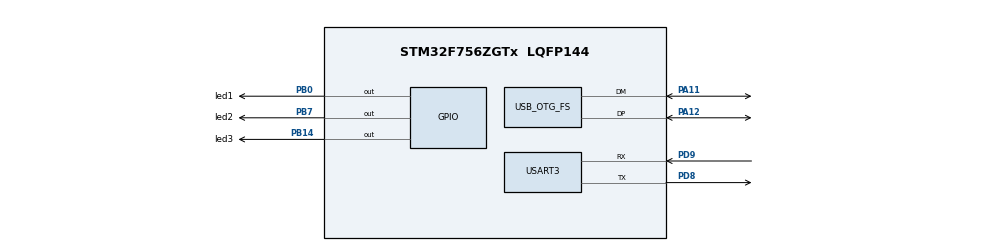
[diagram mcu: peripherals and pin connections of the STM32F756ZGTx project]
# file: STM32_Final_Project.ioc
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CORTEX_M7.default_mode_Activation=1
Mcu.Family=STM32F7
Mcu.Name=STM32F756ZGTx
Mcu.Package=LQFP144
NVIC.FLASH_IRQn=true\:0\:0\:false\:false\:true\:true\:true\:true
NVIC.FPU_IRQn=true\:0\:0\:false\:false\:true\:true\:false\:true
NVIC.OTG_FS_IRQn=true\:0\:0\:false\:false\:true\:false\:true\:true
NVIC.PVD_IRQn=true\:0\:0\:false\:false\:true\:true\:true\:true
NVIC.PriorityGroup=NVIC_PRIORITYGROUP_4
NVIC.RCC_IRQn=true\:0\:0\:false\:false\:true\:true\:false\:true
NVIC.TIM1_BRK_TIM9_IRQn=true\:0\:0\:false\:false\:true\:true\:true\:true
NVIC.TIM1_CC_IRQn=true\:0\:0\:false\:false\:true\:true\:true\:true
NVIC.TIM1_TRG_COM_TIM11_IRQn=true\:0\:0\:false\:false\:true\:true\:true\:true
NVIC.TIM1_UP_TIM10_IRQn=true\:0\:0\:false\:false\:true\:true\:true\:true
NVIC.TIM2_IRQn=true\:0\:0\:false\:false\:true\:true\:true\:true
NVIC.TIM3_IRQn=true\:0\:0\:false\:false\:true\:true\:true\:true
NVIC.USART3_IRQn=true\:0\:0\:false\:false\:true\:true\:true\:true
PA11.Mode=Device_Only
PA11.Signal=USB_OTG_FS_DM
PA12.Mode=Device_Only
PA12.Signal=USB_OTG_FS_DP
PB0.GPIO_Label=led1
PB0.Signal=GPIO_Output
PB14.GPIO_Label=led3
PB14.Signal=GPIO_Output
PB7.GPIO_Label=led2
PB7.Signal=GPIO_Output
PD8.Mode=Asynchronous
PD8.Signal=USART3_TX
PD9.Mode=Asynchronous
PD9.Signal=USART3_RX
ProjectManager.HeapSize=0x200
ProjectManager.StackSize=0x400
ProjectManager.TargetToolchain=STM32CubeIDE
RCC.HSE_VALUE=25000000
RCC.HSI_VALUE=16000000
RCC.LSE_VALUE=32768
RCC.PLLQ=3
RCC.PLLSourceVirtualString=RCC_PLLSOURCE_HSI
RCC.USBFreq_Value=64000000
RCC.VCOOutputFreq_Value=192000000
TIM1.Prescaler=127
TIM2.Period=62499
TIM2.Prescaler=255
TIM3.Prescaler=735
USART3.VirtualMode-Asynchronous=VM_ASYNC
USB_DEVICE.CLASS_NAME_FS=CDC
USB_DEVICE.VirtualMode-CDC_FS=Cdc
USB_DEVICE.VirtualModeFS=Cdc_FS
USB_OTG_FS.VirtualMode=Device_Only
VP_TIM1_VS_ClockSourceINT.Mode=Internal
VP_TIM2_VS_ClockSourceINT.Mode=Internal
VP_TIM3_VS_ClockSourceINT.Mode=Internal
VP_USB_DEVICE_VS_USB_DEVICE_CDC_FS.Mode=CDC_FS
board=custom

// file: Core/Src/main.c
/* USER CODE BEGIN Header */
/**
  ******************************************************************************
  * @file           : main.c
  * @brief          : Main program body
  ******************************************************************************
  * @attention
  *
  * Copyright (c) 2025 STMicroelectronics.
  * All rights reserved.
  *
  * This software is licensed under terms that can be found in the LICENSE file
  * in the root directory of this software component.
  * If no LICENSE file comes with this software, it is provided AS-IS.
  *
  ******************************************************************************
  */
/* USER CODE END Header */
#include "main.h"
#include "tim.h"
#include "usart.h"
#include "usb_device.h"
#include "gpio.h"

/* USER CODE BEGIN Includes */
#include <stdio.h>
#include <string.h>
/* USER CODE END Includes */

/* USER CODE BEGIN PD */
const char* LED_ON_1 = "LED1 ON";
const char* LED_OFF_1 = "LED1 OFF";
const char* LED_ON_2 = "LED2 ON";
const char* LED_OFF_2 = "LED2 OFF";
const char* LED_ON_3 = "LED3 ON";
const char* LED_OFF_3 = "LED3 OFF";
const char* CHENILLARD_ON_1 = "CHENILLARD1 ON";
const char* CHENILLARD_OFF_1 = "CHENILLARD1 OFF";
const char* CHENILLARD_ON_2 = "CHENILLARD2 ON";
const char* CHENILLARD_OFF_2 = "CHENILLARD2 OFF";
const char* CHENILLARD_ON_3 = "CHENILLARD3 ON";
const char* CHENILLARD_OFF_3 = "CHENILLARD3 OFF";
const char* CHENILLARD_FREQ = "CHENILLARD FREQUENCE";
/* USER CODE END PD */

/* USER CODE BEGIN PV */
#define MAX_BUFFER_SIZE 40
struct linear_buf_t {
  uint8_t current_index;
  uint8_t buffer[MAX_BUFFER_SIZE];
};
struct linear_buf_t linear_buf;
volatile uint8_t chenillard_running = 0;
volatile uint8_t current_chenillard = 0;
volatile uint32_t chenillard1_speed = 0;
volatile uint32_t chenillard2_speed = 0;
volatile uint32_t chenillard3_speed = 0;
volatile uint8_t tim1_active = 0;
volatile uint8_t tim2_active = 0;
volatile uint8_t tim3_active = 0;
/* USER CODE END PV */

void SystemClock_Config(void);
static void MPU_Config(void);
/* USER CODE BEGIN PFP */
void linear_buf_reset(struct linear_buf_t *lb);
int linear_buf_insert_char(struct linear_buf_t *lb, uint8_t c);
void process_command(char *command);
void stop_chenillard(void);
void chenillard1(TIM_HandleTypeDef *htim);
void chenillard2(TIM_HandleTypeDef *htim);
void chenillard3(TIM_HandleTypeDef *htim);
void start_chenillard(uint8_t chenillard_id);
void set_chenillard_speed(uint8_t chenillard_id, uint8_t frequency);
void start_timer(TIM_HandleTypeDef *htim, uint32_t period);
void stop_timer(TIM_HandleTypeDef *htim);
/* USER CODE END PFP */

int main(void)
{

  /* MPU Configuration--------------------------------------------------------*/
  MPU_Config();

  /* MCU Configuration--------------------------------------------------------*/

  /* Reset of all peripherals, Initializes the Flash interface and the Systick. */
  HAL_Init();

  /* Configure the system clock */
  SystemClock_Config();

  /* Initialize all configured peripherals */
  MX_GPIO_Init();
  MX_USART3_UART_Init();
  MX_TIM1_Init();
  MX_TIM2_Init();
  MX_TIM3_Init();
  MX_USB_DEVICE_Init();
  /* USER CODE BEGIN 2 */
  linear_buf_reset(&linear_buf);

  /* USER CODE END 2 */

  /* Infinite loop */
  /* USER CODE BEGIN WHILE */
  uint8_t rx_char;
  HAL_UART_Receive_IT(&huart3, &rx_char, 1);
  while (1)
  {
    if (HAL_UART_GetState(&huart3) == HAL_UART_STATE_READY) {

        if (rx_char == '\r' || rx_char == '\n') {
          process_command((char*)linear_buf.buffer);
          linear_buf_reset(&linear_buf);
<<<<<<< HEAD

        } else {
          if (linear_buf_insert_char(&linear_buf, rx_char) != 0) {

            linear_buf_reset(&linear_buf);

=======
        } else {
          if (linear_buf_insert_char(&linear_buf, rx_char) != 0) {
            linear_buf_reset(&linear_buf);
>>>>>>> b70239478df0a673e35625598af3356a225b9d71
          }
        }

      HAL_UART_Receive_IT(&huart3, &rx_char, 1);
    }

    /* USER CODE END WHILE */
  }
}

void SystemClock_Config(void)
{
  RCC_OscInitTypeDef RCC_OscInitStruct = {0};
  RCC_ClkInitTypeDef RCC_ClkInitStruct = {0};

  /** Configure the main internal regulator output voltage
  */
  __HAL_RCC_PWR_CLK_ENABLE();
  __HAL_PWR_VOLTAGESCALING_CONFIG(PWR_REGULATOR_VOLTAGE_SCALE3);

  /** Initializes the RCC Oscillators according to the specified parameters
  * in the RCC_OscInitTypeDef structure.
  */
  RCC_OscInitStruct.OscillatorType = RCC_OSCILLATORTYPE_HSI;
  RCC_OscInitStruct.HSIState = RCC_HSI_ON;
  RCC_OscInitStruct.HSICalibrationValue = RCC_HSICALIBRATION_DEFAULT;
  RCC_OscInitStruct.PLL.PLLState = RCC_PLL_ON;
  RCC_OscInitStruct.PLL.PLLSource = RCC_PLLSOURCE_HSI;
  RCC_OscInitStruct.PLL.PLLM = 16;
  RCC_OscInitStruct.PLL.PLLN = 192;
  RCC_OscInitStruct.PLL.PLLP = RCC_PLLP_DIV2;
  RCC_OscInitStruct.PLL.PLLQ = 3;
  if (HAL_RCC_OscConfig(&RCC_OscInitStruct) != HAL_OK)
  {
    Error_Handler();
  }

  /** Initializes the CPU, AHB and APB buses clocks
  */
  RCC_ClkInitStruct.ClockType = RCC_CLOCKTYPE_HCLK|RCC_CLOCKTYPE_SYSCLK
                              |RCC_CLOCKTYPE_PCLK1|RCC_CLOCKTYPE_PCLK2;
  RCC_ClkInitStruct.SYSCLKSource = RCC_SYSCLKSOURCE_HSI;
  RCC_ClkInitStruct.AHBCLKDivider = RCC_SYSCLK_DIV1;
  RCC_ClkInitStruct.APB1CLKDivider = RCC_HCLK_DIV1;
  RCC_ClkInitStruct.APB2CLKDivider = RCC_HCLK_DIV1;

  if (HAL_RCC_ClockConfig(&RCC_ClkInitStruct, FLASH_LATENCY_0) != HAL_OK)
  {
    Error_Handler();
  }
}

/* USER CODE BEGIN 4 */
volatile uint8_t chenillard1_step = 0;
volatile GPIO_PinState chenillard2_state = GPIO_PIN_SET;
volatile GPIO_PinState chenillard3_state = GPIO_PIN_SET;

void linear_buf_reset(struct linear_buf_t *lb) {
  lb->current_index = 0;
  memset(lb->buffer, 0, sizeof(lb->buffer));
}

int linear_buf_insert_char(struct linear_buf_t *lb, uint8_t c) {
  if (lb->current_index >= MAX_BUFFER_SIZE - 1) {
    return -1;
  }
  lb->buffer[lb->current_index++] = c;
  lb->buffer[lb->current_index] = '\0';
  return 0;
}

void stop_chenillard(void) {
  chenillard_running = 0;
  current_chenillard = 0;
  stop_timer(&htim1);
  stop_timer(&htim2);
  stop_timer(&htim3);
  tim1_active = 0;
  tim2_active = 0;
  tim3_active = 0;
  HAL_GPIO_WritePin(GPIOB, led1_Pin | led2_Pin | led3_Pin, GPIO_PIN_RESET);
<<<<<<< HEAD

=======
>>>>>>> b70239478df0a673e35625598af3356a225b9d71
}

void start_chenillard(uint8_t chenillard_id) {
  stop_chenillard();
  current_chenillard = chenillard_id;
  chenillard_running = 1;
<<<<<<< HEAD

=======
>>>>>>> b70239478df0a673e35625598af3356a225b9d71
}

void start_timer(TIM_HandleTypeDef *htim, uint32_t period) {
  __HAL_TIM_SET_AUTORELOAD(htim, period - 1);
  HAL_TIM_Base_Start_IT(htim);
}

void stop_timer(TIM_HandleTypeDef *htim) {
  HAL_TIM_Base_Stop_IT(htim);
}

void set_chenillard_speed(uint8_t chenillard_id, uint8_t frequency) {
  uint32_t period = 0;
  if (frequency == 1) {
    period = 500;
<<<<<<< HEAD

  } else if (frequency == 2) {
    period = 1000;

  } else if (frequency == 3) {
    period = 3000;

  } else {

=======
  } else if (frequency == 2) {
    period = 1000;
  } else if (frequency == 3) {
    period = 3000;
  } else {
>>>>>>> b70239478df0a673e35625598af3356a225b9d71
    return;
  }

  if (chenillard_id == 1) {
    chenillard1_speed = period;
    if (chenillard_running && current_chenillard == 1) {
      start_timer(&htim1, chenillard1_speed);
      tim1_active = 1;
    }
  } else if (chenillard_id == 2) {
    chenillard2_speed = period;
    if (chenillard_running && current_chenillard == 2) {
      start_timer(&htim2, chenillard2_speed);
      tim2_active = 1;
    }
  } else if (chenillard_id == 3) {
    chenillard3_speed = period;
    if (chenillard_running && current_chenillard == 3) {
      start_timer(&htim3, chenillard3_speed);
      tim3_active = 1;
    }
  }
}

void chenillard1(TIM_HandleTypeDef *htim) {
  if (htim->Instance == TIM1) {
    switch (chenillard1_step) {
      case 0:
        HAL_GPIO_WritePin(GPIOB, led1_Pin, GPIO_PIN_SET);
        HAL_GPIO_WritePin(GPIOB, led2_Pin | led3_Pin, GPIO_PIN_RESET);
        break;
      case 1:
        HAL_GPIO_WritePin(GPIOB, led2_Pin, GPIO_PIN_SET);
        HAL_GPIO_WritePin(GPIOB, led1_Pin | led3_Pin, GPIO_PIN_RESET);
        break;
      case 2:
        HAL_GPIO_WritePin(GPIOB, led3_Pin, GPIO_PIN_SET);
        HAL_GPIO_WritePin(GPIOB, led1_Pin | led2_Pin, GPIO_PIN_RESET);
        break;
      case 3:
        HAL_GPIO_WritePin(GPIOB, led2_Pin, GPIO_PIN_SET);
        HAL_GPIO_WritePin(GPIOB, led1_Pin | led3_Pin, GPIO_PIN_RESET);
        break;
      case 4:
        HAL_GPIO_WritePin(GPIOB, led1_Pin, GPIO_PIN_SET);
        HAL_GPIO_WritePin(GPIOB, led2_Pin | led3_Pin, GPIO_PIN_RESET);
        break;
    }
    chenillard1_step = ((chenillard1_step + 1) % 5);
  }
}

void chenillard2(TIM_HandleTypeDef *htim) {
  if (htim->Instance == TIM2) {
    HAL_GPIO_WritePin(GPIOB, led1_Pin | led3_Pin, chenillard2_state);
    HAL_GPIO_WritePin(GPIOB, led2_Pin, !chenillard2_state);
    chenillard2_state = !chenillard2_state;
  }
}

void chenillard3(TIM_HandleTypeDef *htim) {
  if (htim->Instance == TIM3) {
    HAL_GPIO_WritePin(GPIOB, led1_Pin | led2_Pin | led3_Pin, chenillard3_state);
    chenillard3_state = !chenillard3_state;
  }
}

void HAL_TIM_PeriodElapsedCallback(TIM_HandleTypeDef *htim) {
  if (chenillard_running) {
    if (htim->Instance == TIM1 && current_chenillard == 1 && tim1_active) {
      chenillard1(htim);
    } else if (htim->Instance == TIM2 && current_chenillard == 2 && tim2_active) {
      chenillard2(htim);
    } else if (htim->Instance == TIM3 && current_chenillard == 3 && tim3_active) {
      chenillard3(htim);
    }
  }
}

void process_command(char *command) {
  if (strncmp(command, LED_ON_1, strlen(LED_ON_1)) == 0) {
    HAL_GPIO_WritePin(GPIOB, led1_Pin, GPIO_PIN_SET);
<<<<<<< HEAD

    return;
  } else if (strncmp(command, LED_OFF_1, strlen(LED_OFF_1)) == 0) {
    HAL_GPIO_WritePin(GPIOB, led1_Pin, GPIO_PIN_RESET);

    return;
  } else if (strncmp(command, LED_ON_2, strlen(LED_ON_2)) == 0) {
    HAL_GPIO_WritePin(GPIOB, led2_Pin, GPIO_PIN_SET);

    return;
  } else if (strncmp(command, LED_OFF_2, strlen(LED_OFF_2)) == 0) {
    HAL_GPIO_WritePin(GPIOB, led2_Pin, GPIO_PIN_RESET);

    return;
  } else if (strncmp(command, LED_ON_3, strlen(LED_ON_3)) == 0) {
    HAL_GPIO_WritePin(GPIOB, led3_Pin, GPIO_PIN_SET);

    return;
  } else if (strncmp(command, LED_OFF_3, strlen(LED_OFF_3)) == 0) {
    HAL_GPIO_WritePin(GPIOB, led3_Pin, GPIO_PIN_RESET);

=======
    return;
  } else if (strncmp(command, LED_OFF_1, strlen(LED_OFF_1)) == 0) {
    HAL_GPIO_WritePin(GPIOB, led1_Pin, GPIO_PIN_RESET);
    return;
  } else if (strncmp(command, LED_ON_2, strlen(LED_ON_2)) == 0) {
    HAL_GPIO_WritePin(GPIOB, led2_Pin, GPIO_PIN_SET);
    return;
  } else if (strncmp(command, LED_OFF_2, strlen(LED_OFF_2)) == 0) {
    HAL_GPIO_WritePin(GPIOB, led2_Pin, GPIO_PIN_RESET);
    return;
  } else if (strncmp(command, LED_ON_3, strlen(LED_ON_3)) == 0) {
    HAL_GPIO_WritePin(GPIOB, led3_Pin, GPIO_PIN_SET);
    return;
  } else if (strncmp(command, LED_OFF_3, strlen(LED_OFF_3)) == 0) {
    HAL_GPIO_WritePin(GPIOB, led3_Pin, GPIO_PIN_RESET);
>>>>>>> b70239478df0a673e35625598af3356a225b9d71
    return;
  }

  else if (strncmp(command, CHENILLARD_ON_1, strlen(CHENILLARD_ON_1)) == 0) {
    start_chenillard(1);
    set_chenillard_speed(1, 1);
    return;
  } else if (strncmp(command, CHENILLARD_OFF_1, strlen(CHENILLARD_OFF_1)) == 0) {
    stop_chenillard();
    return;
  } else if (strncmp(command, CHENILLARD_ON_2, strlen(CHENILLARD_ON_2)) == 0) {
    start_chenillard(2);
    set_chenillard_speed(2, 1);
    return;
  } else if (strncmp(command, CHENILLARD_OFF_2, strlen(CHENILLARD_OFF_2)) == 0) {
    stop_chenillard();
    return;
  } else if (strncmp(command, CHENILLARD_ON_3, strlen(CHENILLARD_ON_3)) == 0) {
    start_chenillard(3);
    set_chenillard_speed(3, 1);
    return;
  } else if (strncmp(command, CHENILLARD_OFF_3, strlen(CHENILLARD_OFF_3)) == 0) {
    stop_chenillard();
    return;
  }

  else if (strncmp(command, CHENILLARD_FREQ, strlen(CHENILLARD_FREQ)) == 0) {
    if (strlen(command) > strlen(CHENILLARD_FREQ)) {
      uint8_t freq_char = command[strlen(CHENILLARD_FREQ)];
      uint8_t frequency = freq_char - '0';

      if (frequency >= 1 && frequency <= 3) {
        if (chenillard_running) {
          set_chenillard_speed(current_chenillard, frequency);
<<<<<<< HEAD
        }
      }
    }

=======
        }
        return;
      } else {
        return;
      }
    } else {
      return;
    }
  }
  else {
>>>>>>> b70239478df0a673e35625598af3356a225b9d71
    return;
  }
}
/* USER CODE END 4 */

/* MPU Configuration */

void MPU_Config(void) {
  MPU_Region_InitTypeDef MPU_InitStruct = {0};

  /* Disables the MPU */
  HAL_MPU_Disable();

  /** Initializes and configures the Region and the memory to be protected
   */
  MPU_InitStruct.Enable = MPU_REGION_ENABLE;
  MPU_InitStruct.Number = MPU_REGION_NUMBER0;
  MPU_InitStruct.BaseAddress = 0x0;
  MPU_InitStruct.Size = MPU_REGION_SIZE_4GB;
  MPU_InitStruct.SubRegionDisable = 0x87;
  MPU_InitStruct.TypeExtField = MPU_TEX_LEVEL0;
  MPU_InitStruct.AccessPermission = MPU_REGION_NO_ACCESS;
  MPU_InitStruct.DisableExec = MPU_INSTRUCTION_ACCESS_DISABLE;
  MPU_InitStruct.IsShareable = MPU_ACCESS_SHAREABLE;
  MPU_InitStruct.IsCacheable = MPU_ACCESS_NOT_CACHEABLE;
  MPU_InitStruct.IsBufferable = MPU_ACCESS_NOT_BUFFERABLE;

  HAL_MPU_ConfigRegion(&MPU_InitStruct);
  /* Enables the MPU */
  HAL_MPU_Enable(MPU_PRIVILEGED_DEFAULT);
}

void Error_Handler(void) {
  __disable_irq();
  while (1) {
  }
}
